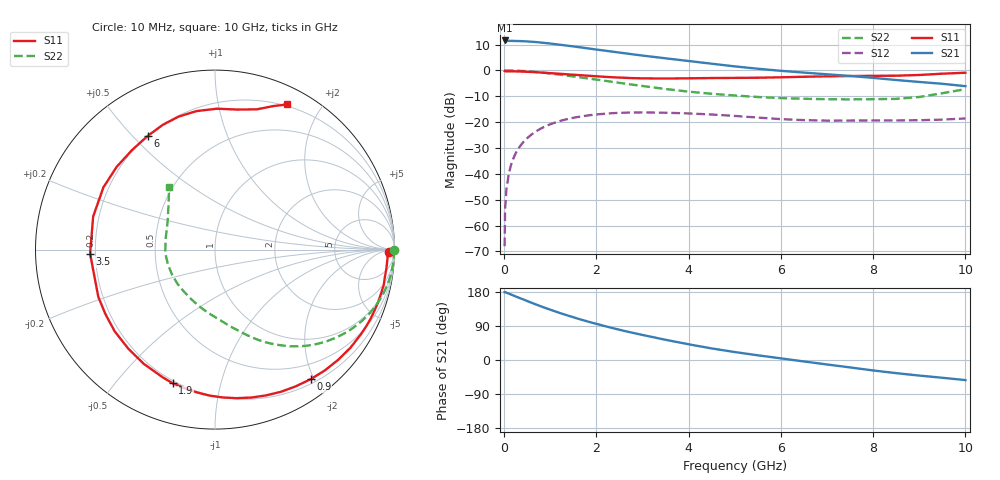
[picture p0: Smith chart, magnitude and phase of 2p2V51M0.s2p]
! (c) 2009  Infineon Technologies AG, Munich
! Infineon Technologies  Discrete & RF Semiconductors
! BFP420
! VCE =  2.5 V,  IC =  1.0 mA
! Common Emitter S-Parameters:  Nov 2009
# GHz  S  MA  R  50
!  f  S11  S21  S12  S22
! GHz  MAG  ANG  MAG  ANG  MAG  ANG  MAG  ANG
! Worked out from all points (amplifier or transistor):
!   46 points, 10 MHz to 10 GHz, reference 50 ohm
!   highest |S21| = 11.6 dB at 10 MHz (marker M1)
!   |S21| within 3 dB of that: start of sweep to 1.784 GHz
!   unconditionally stable (mu >= 1): 4.358 GHz to end of sweep
!   at 300 MHz: K = 0.02, MSG = 20.9 dB, |S12| = -30.5 dB
!   at 1.7 GHz: K = 0.27, MSG = 13.3 dB, |S12| = -17.7 dB
!   at 10 GHz: K = 1.36, MAG = 2.7 dB, |S12| = -18.6 dB
!   lowest NFmin = 0.53 dB at 900 MHz
!   S11 on the Smith chart (normalised r, x): 10 MHz: 57, -28; 900 MHz: 0.26, -1.95; 1.9 GHz: 0.19, -0.72; 3.5 GHz: 0.18, -0.02; 6 GHz: 0.20, +0.55; 10 GHz: 0.18, +1.59
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0.01  0.9722 -0.8  3.793 179.2  0.0004 73.5  0.9978 -0.1
0.02  0.9621 -1.3  3.667 179.4  0.002 92.1  0.9974 -0.6
0.05  0.9623 -2.7  3.692 177.6  0.0051 88.3  0.9974 -1.6
0.1  0.9609 -6.0  3.72 175.2  0.0099 87.0  0.9967 -3.4
0.15  0.9588 -9.0  3.72 172.7  0.015 85.1  0.9946 -5.0
0.25  0.957 -15.0  3.699 167.6  0.025 81.2  0.9889 -8.4
0.45  0.9448 -27.0  3.653 158.1  0.0444 73.9  0.9685 -14.9
0.7  0.9207 -41.9  3.523 146.1  0.0671 64.7  0.9296 -22.8
0.9  0.8975 -53.6  3.378 137.0  0.0834 57.8  0.8916 -28.5
1.2  0.8607 -70.7  3.142 124.3  0.1045 48.0  0.8287 -36.6
1.7  0.8015 -97.4  2.756 105.5  0.1304 33.4  0.7231 -48.1
1.9  0.7811 -107.6  2.605 98.6  0.1376 28.1  0.6829 -52.1
2.2  0.75 -122.0  2.4 88.9  0.1459 20.8  0.6272 -57.5
2.6  0.7208 -140.9  2.154 76.9  0.1523 11.7  0.5581 -64.4
3  0.7016 -157.9  1.936 66.1  0.1541 3.8  0.4994 -70.5
3.5  0.6962 -178.1  1.712 53.3  0.152 -4.8  0.437 -78.6
4.5  0.712 150.8  1.347 30.5  0.1404 -17.6  0.3534 -96.5
5.5  0.722 129.9  1.077 12.4  0.1225 -25.0  0.3061 -115.6
6  0.7358 120.7  0.982 4.3  0.1143 -26.0  0.2915 -126.2
7  0.7684 105.2  0.841 -11.8  0.1069 -24.9  0.2772 -149.0
8.5  0.7903 80.8  0.652 -34.7  0.1079 -24.5  0.2818 166.9
10  0.9018 63.7  0.496 -53.0  0.1178 -22.6  0.4337 126.1
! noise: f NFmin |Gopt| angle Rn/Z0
0.9  0.53  0.67  34  0.35
1.8  1.15  0.44  77  0.27
2.4  1.28  0.44  100  0.22
3  1.61  0.45  131  0.15
4  1.9  0.47  -177  0.09
5  2.32  0.44  -133  0.45
6  3.43  0.6  -118  0.25
